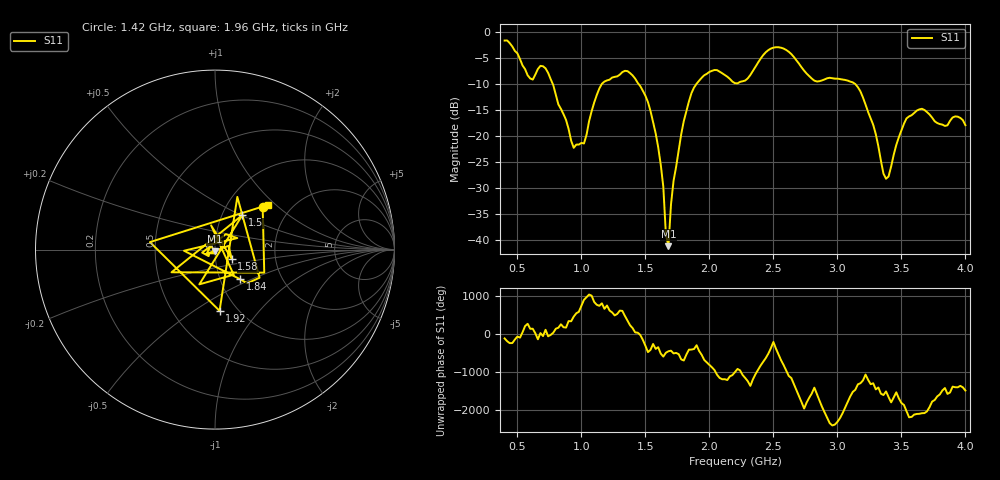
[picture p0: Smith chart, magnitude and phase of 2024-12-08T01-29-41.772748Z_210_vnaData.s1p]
!Created with skrf (http://scikit-rf.org).
# Hz S RI R 50.0
!freq ReS11 ImS11
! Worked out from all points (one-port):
!   181 points, 400 MHz to 4 GHz, reference 50 ohm
!   lowest |S11| = -41.1 dB at 1.68 GHz (marker M1), VSWR 1.02, Z = 50 - j0.876 ohm
!   |S11| at or under -10 dB: 777 MHz to 1.158 GHz (381.5 MHz wide, 39.4 % of centre); 1.448 GHz to 1.898 GHz (450 MHz wide, 26.9 % of centre); 3.141 GHz to end of sweep
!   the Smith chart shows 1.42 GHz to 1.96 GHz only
!   S11 on the Smith chart (normalised r, x): 1.42 GHz: 1.46, +0.80; 1.5 GHz: 1.24, +0.51; 1.58 GHz: 1.20, -0.13; 1.84 GHz: 1.24, -0.43; 1.92 GHz: 0.83, -0.64; 1.96 GHz: 1.52, +0.89
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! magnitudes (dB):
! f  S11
! 400 MHz  -1.6
! 600 MHz  -8.9
! 720 MHz  -7.0
! 860 MHz  -15.8
! 940 MHz  -22.2
! 1.02 GHz  -21.4
! 1.14 GHz  -10.8
! 1.3 GHz  -8.2
! 1.42 GHz  -8.9
! 1.5 GHz  -12.2
! 1.58 GHz  -19.4
! 1.64 GHz  -29.8
! 1.66 GHz  -38.9
! 1.68 GHz  -41.1
! 1.7 GHz  -33.1
! 1.76 GHz  -22.7
! 1.84 GHz  -13.3
! 1.92 GHz  -9.3
! 1.96 GHz  -8.3
! 2.2 GHz  -9.8
! 2.48 GHz  -3.2
! 2.66 GHz  -4.8
! 2.82 GHz  -9.3
! 3.1 GHz  -9.5
! 3.28 GHz  -17.8
! 3.38 GHz  -28.2
! 3.56 GHz  -16.2
! 4 GHz  -17.9
